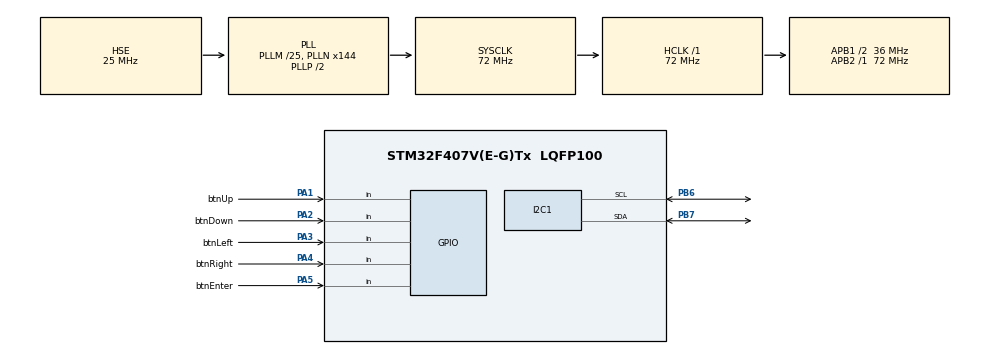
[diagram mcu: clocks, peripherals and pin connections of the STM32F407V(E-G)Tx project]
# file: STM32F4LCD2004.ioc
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Mcu.Family=STM32F4
Mcu.Name=STM32F407V(E-G)Tx
Mcu.Package=LQFP100
NVIC.PriorityGroup=NVIC_PRIORITYGROUP_4
PA1.GPIO_Label=btnUp
PA1.GPIO_PuPd=GPIO_PULLDOWN
PA1.Signal=GPIO_Input
PA13.Mode=Serial_Wire
PA13.Signal=SYS_JTMS-SWDIO
PA14.Mode=Serial_Wire
PA14.Signal=SYS_JTCK-SWCLK
PA2.GPIO_Label=btnDown
PA2.GPIO_PuPd=GPIO_PULLDOWN
PA2.Signal=GPIO_Input
PA3.GPIO_Label=btnLeft
PA3.GPIO_PuPd=GPIO_PULLDOWN
PA3.Signal=GPIO_Input
PA4.GPIO_Label=btnRight
PA4.GPIO_PuPd=GPIO_PULLDOWN
PA4.Signal=GPIO_Input
PA5.GPIO_Label=btnEnter
PA5.GPIO_PuPd=GPIO_PULLDOWN
PA5.Signal=GPIO_Input
PB6.Mode=I2C
PB6.Signal=I2C1_SCL
PB7.Mode=I2C
PB7.Signal=I2C1_SDA
PH0-OSC_IN.Mode=HSE-External-Oscillator
PH0-OSC_IN.Signal=RCC_OSC_IN
PH1-OSC_OUT.Mode=HSE-External-Oscillator
PH1-OSC_OUT.Signal=RCC_OSC_OUT
ProjectManager.HeapSize=0x200
ProjectManager.StackSize=0x400
ProjectManager.TargetToolchain=MDK-ARM V5.32
RCC.48MHZClocksFreq_Value=36000000
RCC.AHBFreq_Value=72000000
RCC.APB1CLKDivider=RCC_HCLK_DIV2
RCC.APB1Freq_Value=36000000
RCC.APB1TimFreq_Value=72000000
RCC.APB2Freq_Value=72000000
RCC.APB2TimFreq_Value=72000000
RCC.CortexFreq_Value=72000000
RCC.HCLKFreq_Value=72000000
RCC.HSE_VALUE=25000000
RCC.HSI_VALUE=16000000
RCC.LSE_VALUE=32768
RCC.PLLM=25
RCC.PLLN=144
RCC.PLLSourceVirtual=RCC_PLLSOURCE_HSE
RCC.SYSCLKFreq_VALUE=72000000
RCC.SYSCLKSource=RCC_SYSCLKSOURCE_PLLCLK
RCC.VCOOutputFreq_Value=144000000
board=custom

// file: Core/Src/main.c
/* USER CODE BEGIN Header */
/**
  ******************************************************************************
  * @file           : main.c
  * @brief          : Main program body
  ******************************************************************************
  * @attention
  *
  * Copyright (c) 2023 STMicroelectronics.
  * All rights reserved.
  *
  * This software is licensed under terms that can be found in the LICENSE file
  * in the root directory of this software component.
  * If no LICENSE file comes with this software, it is provided AS-IS.
  *
  ******************************************************************************
  */
/* USER CODE END Header */
#include "main.h"

/* USER CODE BEGIN Includes */
#include "i2c-lcd2004.h"
/* USER CODE END Includes */

I2C_HandleTypeDef hi2c1;

/* USER CODE BEGIN PV */
unsigned char secl = 1;

/* USER CODE END PV */

void SystemClock_Config(void);
static void MX_GPIO_Init(void);
static void MX_I2C1_Init(void);

/* USER CODE BEGIN 0 */
typedef struct Linked
{
	struct Linked *prev;
	char Title[20];
	char Option1[20]; struct Linked *MenuOp1;
	char Option2[20]; struct Linked *MenuOp2;
	char Option3[20]; struct Linked *MenuOp3;
} Menu;
//----------------------------------------------
//All Menu:
//Khai bao Menu:
Menu Main, MenuOption1, MenuOption2, MenuOption3;

Menu Main =
{
	NULL,
	"			 MAIN MENU     ",
	"  Option1           ",&MenuOption1,
	"  Option2           ",&MenuOption2,
	"  Option3           ",&MenuOption3,
};

Menu MenuOption1 =
{
	&Main,
	"		 MenuOption1	   ",
	"  Option4           ",NULL,
	"  Option5           ",NULL,
	"  Option6					 ",NULL,

};
Menu MenuOption2 =
{
	&Main,
	"    MenuOption2     ",
	"  Option7           ",NULL,
	"  Option8           ",NULL,
	"  Option9           ",NULL,
};
Menu MenuOption3 =
{
	&Main,
	"		 MenuOption3	   ",
	"  Option10          ",NULL,
	"  Option11          ",NULL,
	"  Option12					 ",NULL,

};
void display(Menu *menu, unsigned char secl)
{
	lcd_send_cmd(0x80|0x00);
	lcd_send_string(menu->Title);
	lcd_send_cmd(0x80|0x40);
	lcd_send_string(menu->Option1);
	lcd_send_cmd(0x80|0x14);
	lcd_send_string(menu->Option2);
	lcd_send_cmd(0x80|0x54);
	lcd_send_string(menu->Option3);
	lcd_put_cur(secl, 0);
	lcd_send_string("->");

}

/* USER CODE END 0 */

int main(void)
{

  /* MCU Configuration--------------------------------------------------------*/

  /* Reset of all peripherals, Initializes the Flash interface and the Systick. */
  HAL_Init();

  /* Configure the system clock */
  SystemClock_Config();

  /* Initialize all configured peripherals */
  MX_GPIO_Init();
  MX_I2C1_Init();
  /* USER CODE BEGIN 2 */
lcd_init();
lcd_clear();
	Menu *menu;
		menu = &Main;
		display(menu, secl);
  /* USER CODE END 2 */

  /* Infinite loop */
  /* USER CODE BEGIN WHILE */
  while (1)
  {
			if (HAL_GPIO_ReadPin(GPIOA, btnDown_Pin) == SET)
		{

			while (HAL_GPIO_ReadPin(GPIOA, btnDown_Pin) == SET)
			{
			}
			secl = (secl == 3) ? 1 : secl+1;
			display(menu, secl);

		}
		if (HAL_GPIO_ReadPin(GPIOA, btnUp_Pin) == SET)
		{

			while (HAL_GPIO_ReadPin(GPIOA, btnUp_Pin) == SET)
			{
			}
			secl = (secl == 1) ? 3 : secl-1;
			display(menu, secl);

		}
		if (HAL_GPIO_ReadPin(GPIOA, btnRight_Pin) == SET)
		{

			while (HAL_GPIO_ReadPin(GPIOA, btnRight_Pin) == SET)
			{
			}
			switch (secl)
			{
				case 1: menu = (menu->MenuOp1 == NULL) ? menu : menu->MenuOp1;
				break;
				case 2: menu = (menu->MenuOp2 == NULL) ? menu : menu->MenuOp2;
				break;
				case 3: menu = (menu->MenuOp3 == NULL) ? menu : menu->MenuOp3;
				break;
			}
			display(menu, secl);
		}
		if (HAL_GPIO_ReadPin(GPIOA, btnLeft_Pin) == SET)
		{

			while (HAL_GPIO_ReadPin(GPIOA, btnLeft_Pin) == SET)
			{
			}
			menu = (menu->prev == NULL) ? menu : menu->prev;
			display(menu, secl);
		}
    /* USER CODE END WHILE */

  }
}

void SystemClock_Config(void)
{
  RCC_OscInitTypeDef RCC_OscInitStruct = {0};
  RCC_ClkInitTypeDef RCC_ClkInitStruct = {0};

  /** Configure the main internal regulator output voltage
  */
  __HAL_RCC_PWR_CLK_ENABLE();
  __HAL_PWR_VOLTAGESCALING_CONFIG(PWR_REGULATOR_VOLTAGE_SCALE1);

  /** Initializes the RCC Oscillators according to the specified parameters
  * in the RCC_OscInitTypeDef structure.
  */
  RCC_OscInitStruct.OscillatorType = RCC_OSCILLATORTYPE_HSE;
  RCC_OscInitStruct.HSEState = RCC_HSE_ON;
  RCC_OscInitStruct.PLL.PLLState = RCC_PLL_ON;
  RCC_OscInitStruct.PLL.PLLSource = RCC_PLLSOURCE_HSE;
  RCC_OscInitStruct.PLL.PLLM = 25;
  RCC_OscInitStruct.PLL.PLLN = 144;
  RCC_OscInitStruct.PLL.PLLP = RCC_PLLP_DIV2;
  RCC_OscInitStruct.PLL.PLLQ = 4;
  if (HAL_RCC_OscConfig(&RCC_OscInitStruct) != HAL_OK)
  {
    Error_Handler();
  }

  /** Initializes the CPU, AHB and APB buses clocks
  */
  RCC_ClkInitStruct.ClockType = RCC_CLOCKTYPE_HCLK|RCC_CLOCKTYPE_SYSCLK
                              |RCC_CLOCKTYPE_PCLK1|RCC_CLOCKTYPE_PCLK2;
  RCC_ClkInitStruct.SYSCLKSource = RCC_SYSCLKSOURCE_PLLCLK;
  RCC_ClkInitStruct.AHBCLKDivider = RCC_SYSCLK_DIV1;
  RCC_ClkInitStruct.APB1CLKDivider = RCC_HCLK_DIV2;
  RCC_ClkInitStruct.APB2CLKDivider = RCC_HCLK_DIV1;

  if (HAL_RCC_ClockConfig(&RCC_ClkInitStruct, FLASH_LATENCY_2) != HAL_OK)
  {
    Error_Handler();
  }
}

static void MX_I2C1_Init(void)
{

  hi2c1.Instance = I2C1;
  hi2c1.Init.ClockSpeed = 100000;
  hi2c1.Init.DutyCycle = I2C_DUTYCYCLE_2;
  hi2c1.Init.OwnAddress1 = 0;
  hi2c1.Init.AddressingMode = I2C_ADDRESSINGMODE_7BIT;
  hi2c1.Init.DualAddressMode = I2C_DUALADDRESS_DISABLE;
  hi2c1.Init.OwnAddress2 = 0;
  hi2c1.Init.GeneralCallMode = I2C_GENERALCALL_DISABLE;
  hi2c1.Init.NoStretchMode = I2C_NOSTRETCH_DISABLE;
  if (HAL_I2C_Init(&hi2c1) != HAL_OK)
  {
    Error_Handler();
  }

}

static void MX_GPIO_Init(void)
{
  GPIO_InitTypeDef GPIO_InitStruct = {0};

  /* GPIO Ports Clock Enable */
  __HAL_RCC_GPIOH_CLK_ENABLE();
  __HAL_RCC_GPIOA_CLK_ENABLE();
  __HAL_RCC_GPIOB_CLK_ENABLE();

  /*Configure GPIO pins : btnUp_Pin btnDown_Pin btnLeft_Pin btnRight_Pin
                           btnEnter_Pin */
  GPIO_InitStruct.Pin = btnUp_Pin|btnDown_Pin|btnLeft_Pin|btnRight_Pin
                          |btnEnter_Pin;
  GPIO_InitStruct.Mode = GPIO_MODE_INPUT;
  GPIO_InitStruct.Pull = GPIO_PULLDOWN;
  HAL_GPIO_Init(GPIOA, &GPIO_InitStruct);

}

void Error_Handler(void)
{
  __disable_irq();
  while (1)
  {
  }
}
